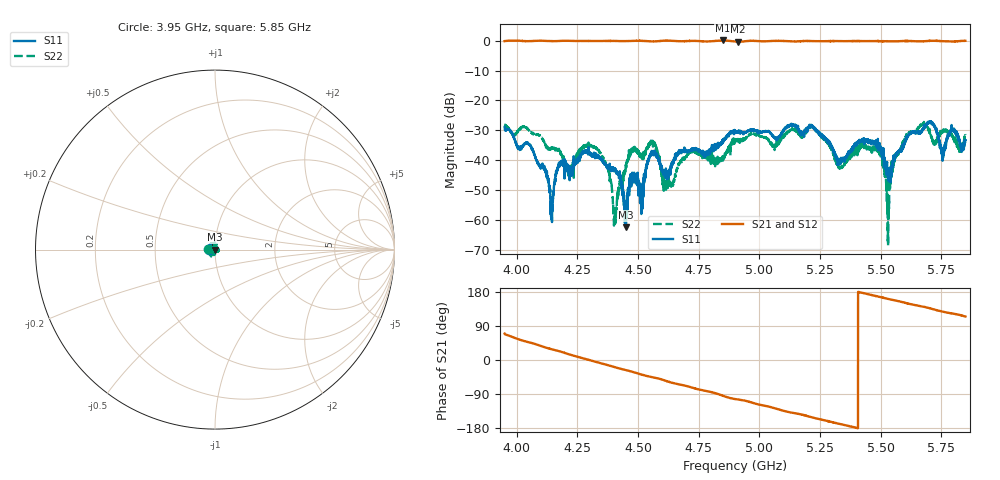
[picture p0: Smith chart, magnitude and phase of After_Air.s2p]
# GHZ S RI R 50.000000000000
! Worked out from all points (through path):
!   4501 points, 3.95 GHz to 5.85 GHz, reference 50 ohm
!   highest |S21| = 0.06 dB at 4.85 GHz (marker M1); lowest = -0.3 dB at 4.911 GHz (marker M2)
!   group delay of S21, straight-line fit = 451 ps
!   lowest |S11| = -62.4 dB at 4.45 GHz (marker M3), VSWR 1.00, Z = 50.1 - j0.0417 ohm
!   |S11| at or under -10 dB: start of sweep to end of sweep
!   |S22| runs from -68.7 to -27.2 dB; largest |S21 - S12| = 0.049
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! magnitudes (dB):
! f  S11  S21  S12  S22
! 3.95 GHz  -28.8  -0.2  -0.2  -28.1
! 4.059 GHz  -35.2  -0.1  -0.2  -30.7
! 4.143 GHz  -55.8  -0.1  -0.2  -36.2
! 4.177 GHz  -41.1  -0.1  -0.1  -37.2
! 4.267 GHz  -37.8  -0.1  -0.1  -36.1
! 4.351 GHz  -39.9  -0.1  -0.1  -38.5
! 4.405 GHz  -43.3  -0.1  -0.1  -60.5
! 4.45 GHz  -62.4  -0.2  -0.2  -42.0
! 4.475 GHz  -45.6  -0.1  -0.1  -36.3
! 4.514 GHz  -57.9  -0.1  -0.1  -38.9
! 4.584 GHz  -39.5  -0.2  -0.2  -38.5
! 4.615 GHz  -44.4  0.0  0.0  -48.2
! 4.72 GHz  -36.2  -0.1  -0.1  -36.9
! 4.85 GHz  -33.1  0.1  0.1  -39.5
! 4.9 GHz  -30.0  -0.3  -0.2  -33.4
! 4.911 GHz  -30.7  -0.3  -0.3  -33.5
! 5.217 GHz  -28.5  -0.1  -0.1  -28.9
! 5.334 GHz  -40.3  -0.2  -0.2  -42.7
! 5.491 GHz  -35.2  -0.2  -0.1  -36.3
! 5.534 GHz  -43.8  -0.2  -0.1  -56.8
! 5.615 GHz  -31.5  -0.1  -0.2  -30.9
! 5.85 GHz  -33.3  -0.1  0.0  -31.5
